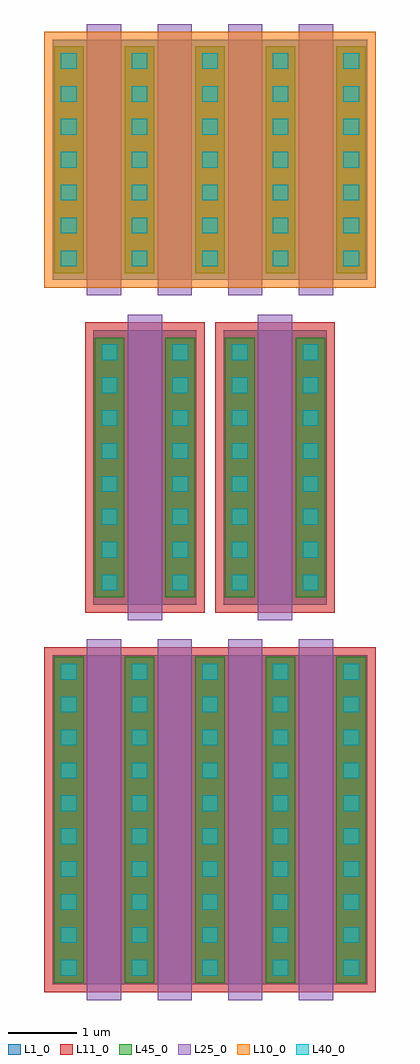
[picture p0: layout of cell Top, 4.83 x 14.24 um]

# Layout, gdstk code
import gdstk
lib = gdstk.Library(unit=1e-6, precision=1e-09)
def R(c, l, rs):  # rectangles x0, y0, x1, y1
    for r in rs: c.add(gdstk.rectangle(r[:2], r[2:], *l))
def A(c, l, x, y, w, h, nx, ny, dx, dy):  # array of equal rectangles
    R(c, l, [(x+i*dx, y+j*dy, x+i*dx+w, y+j*dy+h) for i in range(nx) for j in range(ny)])
L1_0 = (1, 0)
L10_0 = (10, 0)
L11_0 = (11, 0)
L25_0 = (25, 0)
L40_0 = (40, 0)
L45_0 = (45, 0)

bb0 = lib.new_cell('BB0')
R(bb0, L1_0, [(0.2,10.65,4.79,14.15)])
R(bb0, L10_0, [(0.08,10.53,4.91,14.27)])
A(bb0, L25_0, 0.7, 10.42, 0.5, 3.96, 4, 1, 1.03, 0)
A(bb0, L40_0, 0.32, 10.845, 0.23, 0.23, 5, 7, 1.03, 0.48)
A(bb0, L45_0, 0.22, 10.745, 0.43, 3.31, 5, 1, 1.03, 0)

mm2 = lib.new_cell('MM2')
R(mm2, L1_0, [(0.795,5.91,2.295,9.91)])
R(mm2, L11_0, [(0.675,5.79,2.415,10.03)])
R(mm2, L25_0, [(1.295,5.68,1.795,10.14)])
A(mm2, L40_0, 0.915, 6.115, 0.23, 0.23, 1, 8, 0, 0.48)
A(mm2, L40_0, 1.945, 6.115, 0.23, 0.23, 1, 8, 0, 0.48)
R(mm2, L45_0, [(0.815,6.015,1.245,9.805), (1.845,6.015,2.275,9.805)])

mm3 = lib.new_cell('MM3')
R(mm3, L1_0, [(2.695,5.91,4.195,9.91)])
R(mm3, L11_0, [(2.575,5.79,4.315,10.03)])
R(mm3, L25_0, [(3.195,5.68,3.695,10.14)])
A(mm3, L40_0, 2.815, 6.115, 0.23, 0.23, 1, 8, 0, 0.48)
A(mm3, L40_0, 3.845, 6.115, 0.23, 0.23, 1, 8, 0, 0.48)
R(mm3, L45_0, [(2.715,6.015,3.145,9.805), (3.745,6.015,4.175,9.805)])

mm4 = lib.new_cell('MM4')
R(mm4, L1_0, [(0.2,0.37,4.79,5.17)])
R(mm4, L11_0, [(0.08,0.25,4.91,5.29)])
A(mm4, L25_0, 0.7, 0.14, 0.5, 5.26, 4, 1, 1.03, 0)
A(mm4, L40_0, 0.32, 0.495, 0.23, 0.23, 5, 10, 1.03, 0.48)
A(mm4, L45_0, 0.22, 0.395, 0.43, 4.75, 5, 1, 1.03, 0)

top = lib.new_cell('Top')
top.add(gdstk.Reference(bb0, (0,0)))
top.add(gdstk.Reference(mm2, (0,0)))
top.add(gdstk.Reference(mm3, (0,0)))
top.add(gdstk.Reference(mm4, (0,0)))

lib.write_gds('Top.gds')
